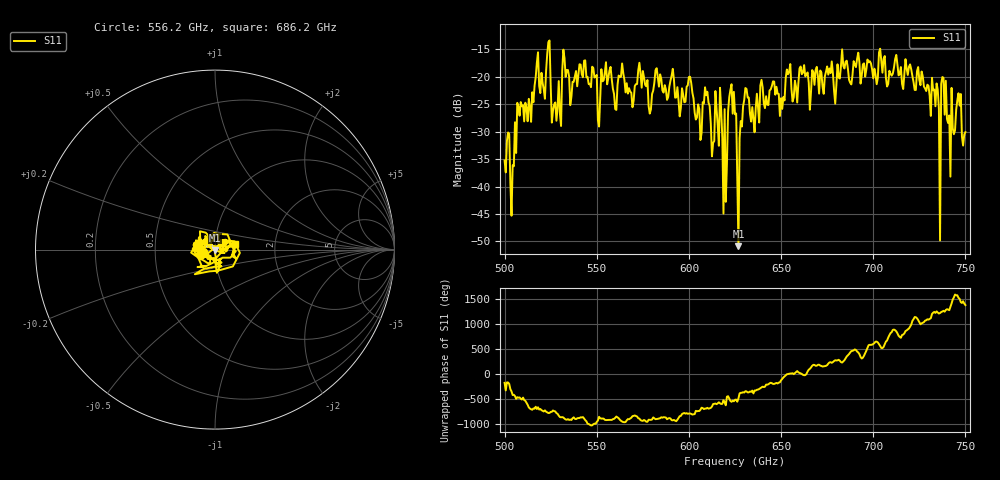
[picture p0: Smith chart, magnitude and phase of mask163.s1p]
!Created with skrf (http://scikit-rf.org).
# GHz S MA R 50.0
!freq magS11 angS11
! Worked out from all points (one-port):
!   401 points, 500 GHz to 750 GHz, reference 50 ohm
!   lowest |S11| = -50.9 dB at 626.9 GHz (marker M1), VSWR 1.01, Z = 49.8 - j0.232 ohm
!   |S11| at or under -10 dB: start of sweep to end of sweep
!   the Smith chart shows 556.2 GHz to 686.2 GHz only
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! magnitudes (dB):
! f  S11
! 500 GHz  -35.3
! 504.4 GHz  -36.1
! 508.1 GHz  -27.1
! 517.5 GHz  -17.4
! 523.8 GHz  -13.7
! 526.9 GHz  -25.1
! 531.2 GHz  -19.0
! 562.5 GHz  -20.1
! 593.8 GHz  -21.9
! 610 GHz  -22.7
! 612.5 GHz  -34.5
! 616.2 GHz  -32.6
! 619.4 GHz  -25.9
! 622.5 GHz  -22.4
! 625 GHz  -26.8
! 626.9 GHz  -50.9
! 631.2 GHz  -22.2
! 634.4 GHz  -25.5
! 656.2 GHz  -24.5
! 687.5 GHz  -21.1
! 718.8 GHz  -19.7
! 733.1 GHz  -22.3
! 735 GHz  -22.4
! 737.5 GHz  -20.1
! 738.1 GHz  -20.2
! 743.1 GHz  -29.4
! 746.2 GHz  -23.0
! 750 GHz  -30.1
